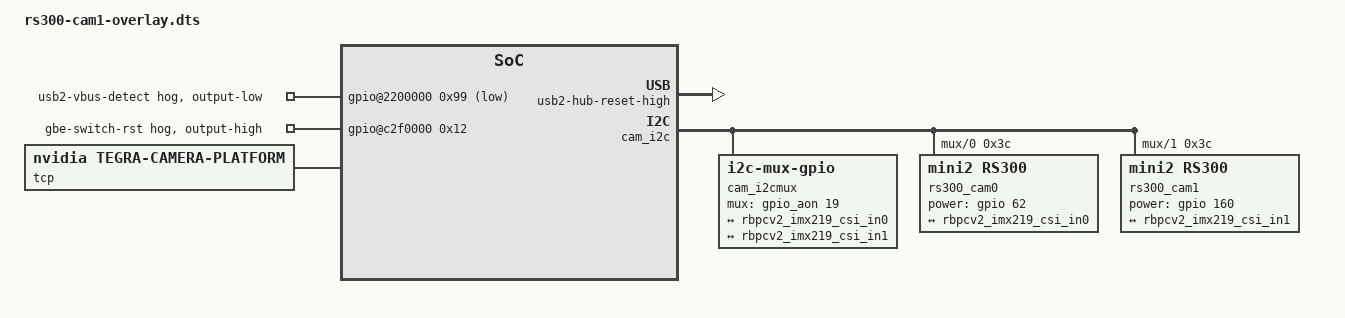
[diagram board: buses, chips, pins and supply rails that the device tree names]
// SPDX-License-Identifier: GPL-2.0-only
/*
 * Self-contained Device Tree Overlay for dual RS300 / WN2640 / Mini2 / Mini3
 * (640x512) thermal cameras on Auvidea JNX120 / JNX120X carrier board:
 *  - CSI 0 / CAM0: serial_a / port-index 0 / i2c@0 / CAM0_PWDN (GPIO 62)
 *  - CSI 1 / CAM1: serial_c / port-index 2 / i2c@1 / CAM1_PWDN (GPIO 160)
 *
 * Compatible with both:
 *  - JetPack 7.2+ (L4T R39.2+, kernel 6.8.12-tegra) where the base DTB
 *    (tegra234-auvidea-jnx42+p3767-0000-nv.dtb) does not pre-populate
 *    cam_i2cmux, nvcsi channels, or tegra-camera-platform unless an overlay
 *    is applied.
 *  - JetPack 6.x (L4T R36.x, kernel 5.15-tegra) where the base DTB
 *    (tegra234-auvidea-jnx120+p3767-0000-nv.dtb) pre-populates the 2x IMX219
 *    camera graph.
 *
 * Only references base DTB symbols (&gpio, &gpio_aon, &cam_i2c) that exist in
 * all Tegra234 base DTBs, and uses plain numeric GPIO bindings so it builds
 * directly with `dtc -@` without C preprocessor includes:
 *  - CAM0_PWDN   = TEGRA234_MAIN_GPIO(H, 6)  = 62
 *  - CAM1_PWDN   = TEGRA234_MAIN_GPIO(AC, 0) = 160
 *  - CAM_I2C_MUX = TEGRA234_AON_GPIO(CC, 3)  = 19
 *  - GPIO_ACTIVE_HIGH = 0
 */
/dts-v1/;
/plugin/;

/ {
	overlay-name = "RS300 Thermal Camera CAM0 + CAM1 (640x512)";

	fragment-rs300-cam1@0 {
		target-path = "/";
		__overlay__ {
			tegra-capture-vi {
				num-channels = <2>;
				ports {
					#address-cells = <1>;
					#size-cells = <0>;
					vi_port0: port@0 {
						reg = <0>;
						rbpcv2_imx219_vi_in0: endpoint {
							port-index = <0>;
							bus-width = <2>;
							remote-endpoint = <&rbpcv2_imx219_csi_out0>;
						};
					};
					vi_port1: port@1 {
						reg = <1>;
						rbpcv2_imx219_vi_in1: endpoint {
							port-index = <2>;
							bus-width = <2>;
							remote-endpoint = <&rbpcv2_imx219_csi_out1>;
						};
					};
				};
			};

			bus@0 {
				/*
				 * Ensure Auvidea JNX120 / JNX120X carrier GPIO hogs (Gigabit
				 * Ethernet switch reset, USB2 hub reset, VBUS detect/enable)
				 * remain active even when merged onto the shared JetPack 7.2
				 * tegra234-auvidea-jnx42+p3767-0000-nv.dtb base DTB.
				 */
				gpio@2200000 {
					usb2-hub-reset-high {
						status = "okay";
						gpio-hog;
						/delete-property/ output-high;
						output-low;
						gpios = <0x84 0x00>;
						label = "usb2-hub-reset";
					};

					usb_vbus_det {
						status = "okay";
						gpio-hog;
						output-low;
						gpios = <0x99 0x01>;
						label = "usb2-vbus-detect";
					};
				};

				gpio@c2f0000 {
					gbe-switch-rst {
						status = "okay";
						gpio-hog;
						output-high;
						gpios = <0x12 0x00>;
						label = "gbe-switch-rst";
					};

					vbus_en_gpio {
						status = "okay";
						output-low;
						gpios = <0x10 0x00>;
						label = "vbus_en_gpio";
					};
				};

				host1x@13e00000 {
					nvcsi@15a00000 {
						num-channels = <2>;
						#address-cells = <1>;
						#size-cells = <0>;
						csi_chan0: channel@0 {
							reg = <0>;
							ports {
								#address-cells = <1>;
								#size-cells = <0>;
								csi_chan0_port0: port@0 {
									reg = <0>;
									rbpcv2_imx219_csi_in0: endpoint@0 {
										port-index = <0>;
										bus-width = <2>;
										remote-endpoint = <&rs300_cam0_out>;
									};
								};
								csi_chan0_port1: port@1 {
									reg = <1>;
									rbpcv2_imx219_csi_out0: endpoint@1 {
										remote-endpoint = <&rbpcv2_imx219_vi_in0>;
									};
								};
							};
						};
						csi_chan1: channel@1 {
							reg = <1>;
							ports {
								#address-cells = <1>;
								#size-cells = <0>;
								csi_chan1_port0: port@0 {
									reg = <0>;
									rbpcv2_imx219_csi_in1: endpoint@2 {
										port-index = <2>;
										bus-width = <2>;
										remote-endpoint = <&rs300_cam1_out>;
									};
								};
								csi_chan1_port1: port@1 {
									reg = <1>;
									rbpcv2_imx219_csi_out1: endpoint@3 {
										remote-endpoint = <&rbpcv2_imx219_vi_in1>;
									};
								};
							};
						};
					};
				};

				cam_i2cmux {
					status = "okay";
					compatible = "i2c-mux-gpio";
					#address-cells = <1>;
					#size-cells = <0>;
					i2c-parent = <&cam_i2c>;
					mux-gpios = <&gpio_aon 19 0>;

					i2c_0: i2c@0 {
						status = "okay";
						reg = <0>;
						#address-cells = <1>;
						#size-cells = <0>;

						rbpcv2_imx219_a@10 {
							reg = <0x10>;
							status = "disabled";
						};

						rs300_cam0: rs300@3c {
							status = "okay";
							compatible = "mini2,rs300", "infisense,rs300";
							reg = <0x3c>;
							devnode = "video0";
							physical_w = "3.680";
							physical_h = "2.760";
							sensor_model = "rs300";
							use_sensor_mode_id = "true";
							/*
							 * Auvidea JNX CAM0_PW_DN / PH.06:
							 * TEGRA234_MAIN_GPIO(H, 6) = (7 * 8) + 6 = 62.
							 */
							power-gpios = <&gpio 62 0>;

							mode0 {
								mclk_khz = "24000";
								num_lanes = "2";
								tegra_sinterface = "serial_a";
								phy_mode = "DPHY";
								discontinuous_clk = "yes";
								dpcm_enable = "false";
								cil_settletime = "0";
								active_w = "640";
								active_h = "512";
								mode_type = "yuv";
								pixel_t = "yuv_uyvy16";
								pixel_phase = "uyvy";
								csi_pixel_bit_depth = "8";
								readout_orientation = "0";
								line_length = "640";
								inherent_gain = "1";
								mclk_multiplier = "1";
								pix_clk_hz = "40000000";
								gain_factor = "1";
								framerate_factor = "1000000";
								exposure_factor = "1000000";
								min_gain_val = "1";
								max_gain_val = "1";
								step_gain_val = "1";
								default_gain = "1";
								min_hdr_ratio = "1";
								max_hdr_ratio = "1";
								min_framerate = "30000000";
								max_framerate = "60000000";
								step_framerate = "1";
								default_framerate = "30000000";
								min_exp_time = "1";
								max_exp_time = "16666";
								step_exp_time = "1";
								default_exp_time = "16666";
								embedded_metadata_height = "0";
							};

							ports {
								#address-cells = <1>;
								#size-cells = <0>;

								port@0 {
									reg = <0>;

									rs300_cam0_out: endpoint {
										status = "okay";
										port-index = <0>;
										bus-width = <2>;
										bus-type = <4>;
										data-lanes = <1 2>;
										clock-noncontinuous;
										link-frequencies = /bits/ 64 <80000000>;
										remote-endpoint = <&rbpcv2_imx219_csi_in0>;
									};
								};
							};
						};
					};

					i2c_1: i2c@1 {
						status = "okay";
						reg = <1>;
						#address-cells = <1>;
						#size-cells = <0>;

						rbpcv2_imx219_c@10 {
							reg = <0x10>;
							status = "disabled";
						};

						rs300_cam1: rs300@3c {
							status = "okay";
							compatible = "mini2,rs300", "infisense,rs300";
							reg = <0x3c>;
							devnode = "video1";
							physical_w = "3.680";
							physical_h = "2.760";
							sensor_model = "rs300";
							use_sensor_mode_id = "true";
							/*
							 * Auvidea JNX CAM1_PW_DN / PAC.00:
							 * TEGRA234_MAIN_GPIO(AC, 0) = (20 * 8) + 0 = 160.
							 */
							power-gpios = <&gpio 160 0>;

							mode0 {
								mclk_khz = "24000";
								num_lanes = "2";
								tegra_sinterface = "serial_c";
								phy_mode = "DPHY";
								discontinuous_clk = "yes";
								dpcm_enable = "false";
								cil_settletime = "0";
								active_w = "640";
								active_h = "512";
								mode_type = "yuv";
								pixel_t = "yuv_uyvy16";
								pixel_phase = "uyvy";
								csi_pixel_bit_depth = "8";
								readout_orientation = "0";
								line_length = "640";
								inherent_gain = "1";
								mclk_multiplier = "1";
								pix_clk_hz = "40000000";
								gain_factor = "1";
								framerate_factor = "1000000";
								exposure_factor = "1000000";
								min_gain_val = "1";
								max_gain_val = "1";
								step_gain_val = "1";
								default_gain = "1";
								min_hdr_ratio = "1";
								max_hdr_ratio = "1";
								min_framerate = "30000000";
								max_framerate = "60000000";
								step_framerate = "1";
								default_framerate = "30000000";
								min_exp_time = "1";
								max_exp_time = "16666";
								step_exp_time = "1";
								default_exp_time = "16666";
								embedded_metadata_height = "0";
							};

							ports {
								#address-cells = <1>;
								#size-cells = <0>;

								port@0 {
									reg = <0>;

									rs300_cam1_out: endpoint {
										status = "okay";
										port-index = <2>;
										bus-width = <2>;
										bus-type = <4>;
										data-lanes = <1 2>;
										clock-noncontinuous;
										link-frequencies = /bits/ 64 <80000000>;
										remote-endpoint = <&rbpcv2_imx219_csi_in1>;
									};
								};
							};
						};
					};
				};

				lens_imx219@RBPCV2 {
					min_focus_distance = "0.0";
					hyper_focal = "0.0";
					focal_length = "3.04";
					f_number = "2.0";
					aperture = "0.0";
				};
			};

			tcp: tegra-camera-platform {
				compatible = "nvidia, tegra-camera-platform";
				num_csi_lanes = <4>;
				max_lane_speed = <1500000>;
				min_bits_per_pixel = <8>;
				vi_peak_byte_per_pixel = <2>;
				vi_bw_margin_pct = <25>;
				max_pixel_rate = <80000000>;
				isp_peak_byte_per_pixel = <5>;
				isp_bw_margin_pct = <25>;

				modules {
					cam_module0: module0 {
						status = "okay";
						badge = "rs300_cam0";
						position = "front";
						orientation = "1";
						cam_module0_drivernode0: drivernode0 {
							pcl_id = "v4l2_sensor";
							sysfs-device-tree = "/sys/firmware/devicetree/base/bus@0/cam_i2cmux/i2c@0/rs300@3c";
						};
						cam_module0_drivernode1: drivernode1 {
							status = "disabled";
						};
					};
					cam_module1: module1 {
						status = "okay";
						badge = "rs300_cam1";
						position = "rear";
						orientation = "1";
						cam_module1_drivernode0: drivernode0 {
							pcl_id = "v4l2_sensor";
							sysfs-device-tree = "/sys/firmware/devicetree/base/bus@0/cam_i2cmux/i2c@1/rs300@3c";
						};
						cam_module1_drivernode1: drivernode1 {
							status = "disabled";
						};
					};
				};
			};
		};
	};
};
